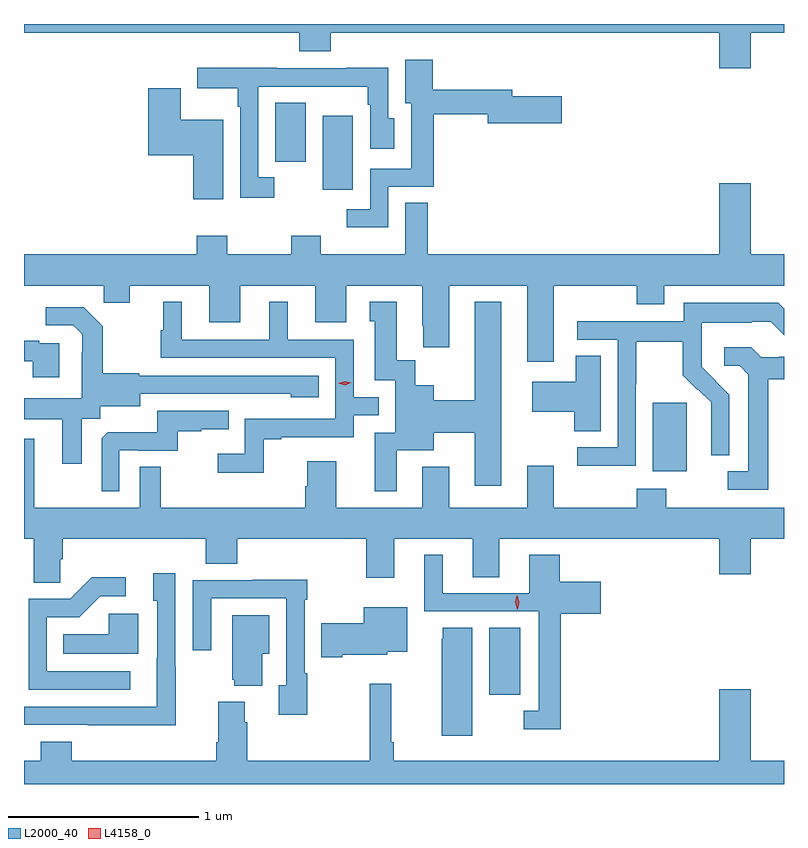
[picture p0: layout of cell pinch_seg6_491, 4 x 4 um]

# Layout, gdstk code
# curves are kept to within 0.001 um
import gdstk
lib = gdstk.Library(unit=1e-6, precision=1e-09)
def R(c, l, rs):  # rectangles x0, y0, x1, y1
    for r in rs: c.add(gdstk.rectangle(r[:2], r[2:], *l))
def P(c, l, *ps):  # polygons
    for p in ps: c.add(gdstk.Polygon(p, *l))
L2000_40 = (2000, 40)
L4158_0 = (4158, 0)

pinch_seg6_491 = lib.new_cell('pinch_seg6_491')
R(pinch_seg6_491, L2000_40, [(859.1,954.507,859.264,954.86), (859.961,955.682,860.14,956.043), (858.224,957.164,858.382,957.553), (857.975,957.312,858.136,957.623)])
P(pinch_seg6_491, L2000_40, [(860.476,957.992),(860.652,957.992),(860.652,958.037),(856.652,958.037),(856.652,957.992),(858.101,957.992),(858.101,957.893),(858.266,957.893),(858.266,957.992),(860.312,957.992),(860.312,957.804),(860.476,957.804)],
  [(858.57,957.18),(858.808,957.18),(858.808,957.562),(859.094,957.562),(859.094,957.515),(859.483,957.515),(859.483,957.657),(859.222,957.657),(859.222,957.691),(858.803,957.691),(858.803,957.85),(858.659,957.85),(858.659,957.621),(858.689,957.621),(858.689,957.276),(858.474,957.276),(858.474,957.063),(858.351,957.063),(858.351,956.966),(858.57,956.966)],
  [(857.968,957.231),(857.886,957.231),(857.886,957.708),(858.232,957.708),(858.232,957.707),(858.462,957.707),(858.462,957.611),(858.474,957.611),(858.474,957.381),(858.601,957.381),(858.601,957.54),(858.57,957.54),(858.57,957.806),(858.349,957.806),(858.349,957.804),(857.983,957.804),(857.983,957.806),(857.565,957.806),(857.565,957.698),(857.778,957.698),(857.778,957.602),(857.79,957.602),(857.79,957.123),(857.968,957.123)],
  [(857.701,957.532),(857.476,957.532),(857.476,957.7),(857.306,957.7),(857.306,957.347),(857.543,957.347),(857.543,957.114),(857.701,957.114)],
  [(859.441,956.66),(859.876,956.66),(859.876,956.561),(860.023,956.561),(860.023,956.66),(860.652,956.66),(860.652,956.824),(860.476,956.824),(860.476,957.199),(860.312,957.199),(860.312,956.824),(858.778,956.824),(858.778,957.095),(858.659,957.095),(858.659,956.824),(858.213,956.824),(858.213,956.923),(858.058,956.923),(858.058,956.824),(857.721,956.824),(857.721,956.923),(857.561,956.923),(857.561,956.824),(856.652,956.824),(856.652,956.66),(857.071,956.66),(857.071,956.57),(857.209,956.57),(857.209,956.66),(857.627,956.66),(857.627,956.466),(857.791,956.466),(857.791,956.66),(858.185,956.66),(858.185,956.466),(858.349,956.466),(858.349,956.66),(858.749,956.66),(858.749,956.449),(858.752,956.449),(858.752,956.337),(858.889,956.337),(858.889,956.66),(859.301,956.66),(859.301,956.259),(859.441,956.259)],
  [(858.613,955.793),(858.808,955.793),(858.808,955.885),(859.025,955.885),(859.025,955.608),(859.165,955.608),(859.165,956.575),(859.025,956.575),(859.025,956.057),(858.808,956.057),(858.808,956.137),(858.711,956.137),(858.711,956.267),(858.613,956.267),(858.613,956.575),(858.473,956.575),(858.473,956.472),(858.497,956.472),(858.497,956.163),(858.606,956.163),(858.606,955.887),(858.497,955.887),(858.497,955.578),(858.613,955.578)],
  [(857.913,955.851),(858.007,955.851),(858.007,955.863),(858.387,955.863),(858.387,955.977),(858.52,955.977),(858.52,956.073),(858.387,956.073),(858.387,956.376),(858.04,956.376),(858.04,956.575),(857.942,956.575),(857.942,956.376),(857.482,956.376),(857.482,956.575),(857.384,956.575),(857.384,956.424),(857.373,956.424),(857.373,956.28),(858.291,956.28),(858.291,955.959),(857.814,955.959),(857.814,955.774),(857.673,955.774),(857.673,955.676),(857.913,955.676)],
  [(859.872,956.14),(859.875,956.14),(859.875,956.364),(860.119,956.364),(860.119,956.189),(860.196,956.112),(860.199,956.115),(860.27,956.045),(860.27,955.922),(860.268,955.922),(860.268,955.768),(860.364,955.768),(860.364,956.086),(860.218,956.234),(860.218,956.331),(860.22,956.331),(860.22,956.465),(860.483,956.465),(860.483,956.469),(860.583,956.469),(860.652,956.4),(860.652,956.538),(860.621,956.569),(860.124,956.569),(860.124,956.472),(859.563,956.472),(859.563,956.376),(859.776,956.376),(859.776,955.809),(859.563,955.809),(859.563,955.711),(859.872,955.711)],
  [(856.957,955.96),(857.052,955.96),(857.052,956.024),(857.263,956.024),(857.263,956.091),(858.057,956.09),(858.057,956.072),(858.202,956.072),(858.202,956.187),(857.259,956.187),(857.259,956.2),(857.067,956.2),(857.067,956.445),(856.967,956.545),(856.767,956.545),(856.767,956.451),(856.911,956.451),(856.958,956.404),(856.958,956.309),(856.956,956.309),(856.956,956.068),(856.652,956.068),(856.652,955.958),(856.853,955.958),(856.853,955.722),(856.957,955.722)],
  [(856.837,956.358),(856.733,956.358),(856.733,956.371),(856.652,956.371),(856.652,956.262),(856.697,956.262),(856.697,956.178),(856.837,956.178)],
  [(860.569,956.168),(860.652,956.168),(860.652,956.286),(860.626,956.286),(860.626,956.283),(860.532,956.283),(860.48,956.335),(860.337,956.335),(860.337,956.238),(860.418,956.238),(860.465,956.191),(860.465,955.683),(860.355,955.683),(860.355,955.587),(860.569,955.587)],
  [(859.687,956.291),(859.556,956.291),(859.556,956.155),(859.326,956.155),(859.326,955.997),(859.549,955.997),(859.549,955.894),(859.687,955.894)],
  [(857.154,955.794),(857.254,955.794),(857.254,955.791),(857.462,955.791),(857.462,955.893),(857.585,955.893),(857.585,955.904),(857.729,955.904),(857.729,956.001),(857.352,956.001),(857.352,955.889),(857.093,955.889),(857.061,955.857),(857.061,955.577),(857.154,955.577)],
  [(856.842,955.219),(856.856,955.219),(856.856,955.328),(857.609,955.328),(857.609,955.195),(857.774,955.195),(857.774,955.328),(858.454,955.328),(858.454,955.122),(858.601,955.122),(858.601,955.328),(859.013,955.328),(859.013,955.126),(859.153,955.126),(859.153,955.328),(860.312,955.328),(860.312,955.14),(860.476,955.14),(860.476,955.328),(860.652,955.328),(860.652,955.492),(860.031,955.492),(860.031,955.591),(859.876,955.591),(859.876,955.492),(859.441,955.492),(859.441,955.711),(859.301,955.711),(859.301,955.492),(858.889,955.492),(858.889,955.708),(858.749,955.708),(858.749,955.492),(858.295,955.492),(858.295,955.735),(858.143,955.735),(858.143,955.605),(858.131,955.605),(858.131,955.492),(857.371,955.492),(857.371,955.706),(857.262,955.706),(857.262,955.492),(856.705,955.492),(856.705,955.855),(856.652,955.855),(856.652,955.328),(856.703,955.328),(856.703,955.096),(856.842,955.096)],
  [(859.478,954.932),(859.687,954.932),(859.687,955.102),(859.472,955.102),(859.472,955.243),(859.31,955.243),(859.31,955.041),(858.856,955.041),(858.856,955.243),(858.758,955.243),(858.758,954.945),(859.362,954.945),(859.362,954.423),(859.281,954.423),(859.281,954.326),(859.478,954.326)],
  [(857.451,954.653),(857.448,954.653),(857.448,955.147),(857.333,955.147),(857.333,955.002),(857.352,955.002),(857.352,954.698),(857.351,954.698),(857.351,954.444),(856.652,954.444),(856.652,954.348),(856.987,954.348),(856.987,954.347),(857.451,954.347)],
  [(857.212,954.63),(856.773,954.63),(856.773,954.915),(856.942,954.915),(857.053,955.026),(857.188,955.026),(857.188,955.124),(857.009,955.124),(856.896,955.011),(856.677,955.011),(856.677,954.534),(857.212,954.534)],
  [(858.142,954.62),(858.129,954.62),(858.129,955.007),(858.142,955.007),(858.142,955.112),(857.857,955.112),(857.857,955.11),(857.541,955.11),(857.541,954.741),(857.637,954.741),(857.637,955.014),(858.033,955.014),(858.033,954.558),(857.993,954.558),(857.993,954.402),(858.142,954.402)],
  [(858.328,954.716),(858.564,954.716),(858.564,954.734),(858.67,954.734),(858.67,954.967),(858.44,954.967),(858.44,954.882),(858.216,954.882),(858.216,954.704),(858.328,954.704)],
  [(857.254,954.934),(857.097,954.934),(857.097,954.826),(856.858,954.826),(856.858,954.722),(857.254,954.722)],
  [(857.905,954.722),(857.944,954.722),(857.944,954.925),(857.747,954.925),(857.747,954.585),(857.759,954.585),(857.759,954.554),(857.905,954.554)],
  [(859.012,954.86),(858.857,954.86),(858.857,954.801),(858.851,954.801),(858.851,954.291),(859.012,954.291)],
  [(860.652,954.16),(860.476,954.16),(860.476,954.535),(860.312,954.535),(860.312,954.16),(858.599,954.16),(858.599,954.256),(858.584,954.256),(858.584,954.565),(858.471,954.565),(858.471,954.16),(857.828,954.16),(857.828,954.362),(857.815,954.362),(857.815,954.469),(857.675,954.469),(857.675,954.256),(857.663,954.256),(857.663,954.16),(856.904,954.16),(856.904,954.259),(856.739,954.259),(856.739,954.16),(856.652,954.16),(856.652,954.037),(860.652,954.037)])
P(pinch_seg6_491, L4158_0, [(859.249,954.958),(859.238,954.993),(859.246,955.029),(859.246,955.029),(859.247,955.029),(859.258,954.994),(859.25,954.958),(859.25,954.958)],
  [(858.341,956.137),(858.306,956.145),(858.306,956.145),(858.306,956.145),(858.34,956.157),(858.375,956.149),(858.375,956.149),(858.375,956.149)])

lib.write_gds('pinch_seg6_491.gds')
